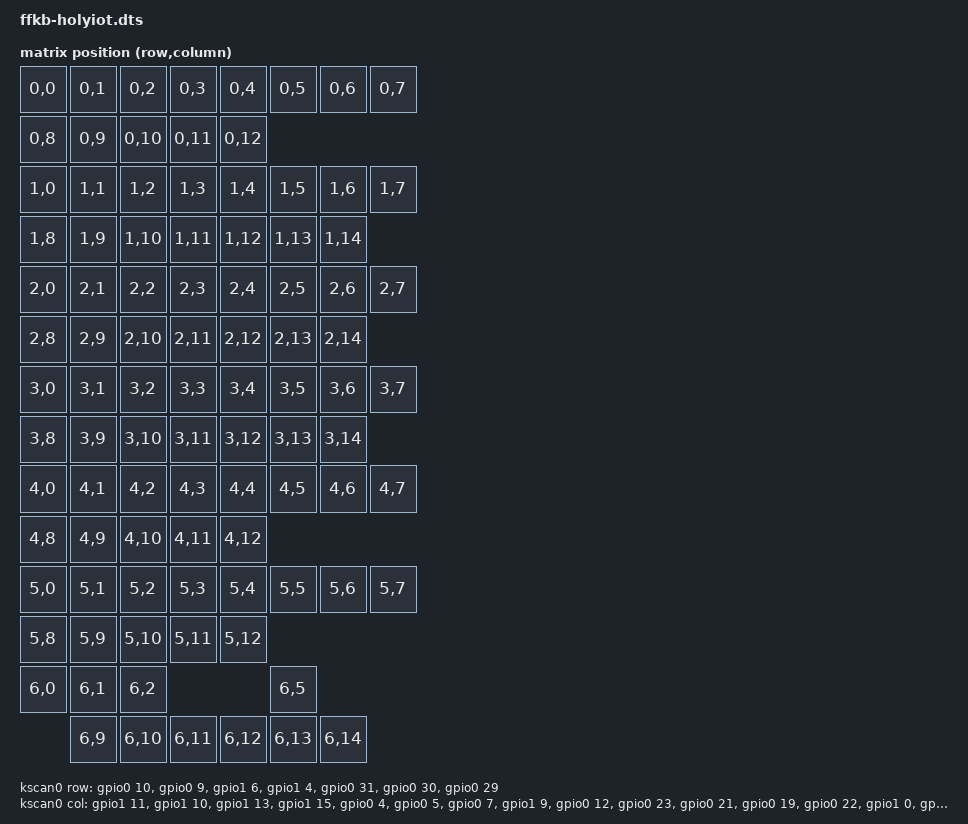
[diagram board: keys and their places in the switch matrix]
/*
 * Copyright (c) 2021 The ZMK Contributors
 *
 * SPDX-License-Identifier: MIT
 */

/dts-v1/;
#include <nordic/nrf52840_qiaa.dtsi>
#include <dt-bindings/zmk/matrix_transform.h>
// #include <dt-bindings/led/led.h>

/ {
    //model = "ffkb-holyiot";
    //compatible = "fingerpunch,ffkb-holyiot"

    chosen {
        zephyr,code-partition = &code_partition;
        zephyr,sram = &sram0;
        zephyr,flash = &flash0;
        zmk,kscan = &kscan0;
        zmk,matrix_transform = &default_transform;
    };

    // leds {
    //     compatible = "gpio-leds";
    //     blue_led: led_0 {
    //         gpios = <&gpio1 2 GPIO_ACTIVE_HIGH>;
    //         label = "Blue LED";
    //         status = "okay";  // 确保节点是激活的
    //     };
    // };

    vbatt {
        compatible = "zmk,battery-voltage-divider";
        label = "BATTERY";
        io-channels = <&adc 1>;
        output-ohms = <2000000>;
        full-ohms = <(2000000 + 750000)>;
    };

    // // Left encoder
    // encoder_1: encoder_1 {
    //     compatible = "alps,ec11";
    //     label = "Encoder 1";
    //     a-gpios = <&gpio0 7 (GPIO_ACTIVE_LOW | GPIO_PULL_UP)>;
    //     b-gpios = <&gpio1 9 (GPIO_ACTIVE_LOW | GPIO_PULL_UP)>;
    //     resolution = <4>;
    //     status = "okay";
    // };

    // // Right encoder
    // encoder_2: encoder_2 {
    //     compatible = "alps,ec11";
    //     label = "Encoder 2";
    //     a-gpios = <&gpio0 12 (GPIO_ACTIVE_LOW | GPIO_PULL_UP)>;
    //     b-gpios = <&gpio0 19 (GPIO_ACTIVE_LOW | GPIO_PULL_UP)>;
    //     resolution = <4>;
    //     status = "okay";
    // };

    // // Center encoder
    // encoder_3: encoder_3 {
    //     compatible = "alps,ec11";
    //     label = "Encoder 3";
    //     a-gpios = <&gpio0 21 (GPIO_ACTIVE_LOW | GPIO_PULL_UP)>;
    //     b-gpios = <&gpio0 23 (GPIO_ACTIVE_LOW | GPIO_PULL_UP)>;
    //     resolution = <4>;
    //     status = "okay";
    // };

    // sensors {
    //     compatible = "zmk,keymap-sensors";
    //     sensors = <&encoder_1 &encoder_2 &encoder_3>;
    // };

    kscan0: kscan_0 {
        compatible = "zmk,kscan-gpio-matrix";
        label = "KSCAN";
        diode-direction = "col2row";

        row-gpios
            = <&gpio0 10 (GPIO_ACTIVE_HIGH | GPIO_PULL_DOWN)>
            , <&gpio0 9 (GPIO_ACTIVE_HIGH | GPIO_PULL_DOWN)>
            , <&gpio1 6 (GPIO_ACTIVE_HIGH | GPIO_PULL_DOWN)>
            , <&gpio1 4 (GPIO_ACTIVE_HIGH | GPIO_PULL_DOWN)>
            , <&gpio0 31 (GPIO_ACTIVE_HIGH | GPIO_PULL_DOWN)>
            , <&gpio0 30 (GPIO_ACTIVE_HIGH | GPIO_PULL_DOWN)>
            , <&gpio0 29 (GPIO_ACTIVE_HIGH | GPIO_PULL_DOWN)>
            ;

        col-gpios
            = <&gpio1 11 GPIO_ACTIVE_HIGH>
            , <&gpio1 10 GPIO_ACTIVE_HIGH>
            , <&gpio1 13 GPIO_ACTIVE_HIGH>
            , <&gpio1 15 GPIO_ACTIVE_HIGH>
            , <&gpio0 4 GPIO_ACTIVE_HIGH>
            , <&gpio0 5 GPIO_ACTIVE_HIGH>
            , <&gpio0 7 GPIO_ACTIVE_HIGH>
            , <&gpio1 9 GPIO_ACTIVE_HIGH>
            , <&gpio0 12 GPIO_ACTIVE_HIGH>
            , <&gpio0 23 GPIO_ACTIVE_HIGH>
            , <&gpio0 21 GPIO_ACTIVE_HIGH>
            , <&gpio0 19 GPIO_ACTIVE_HIGH>
            , <&gpio0 22 GPIO_ACTIVE_HIGH>
            , <&gpio1 0 GPIO_ACTIVE_HIGH>
            , <&gpio1 3 GPIO_ACTIVE_HIGH>
            ;
    };

    default_transform: keymap_transform_0 {
        compatible = "zmk,matrix-transform";
        rows = <7>;
        columns = <15>;

        map = <
            RC(0,0) RC(0,1) RC(0,2)     RC(0,3)     RC(0,4)     RC(0,5)     RC(0,6)     RC(0,7) 
            RC(0,8) RC(0,9) RC(0,10)    RC(0,11)    RC(0,12)
            
            RC(1,0) RC(1,1) RC(1,2)     RC(1,3)     RC(1,4)     RC(1,5)     RC(1,6)     RC(1,7)
            RC(1,8) RC(1,9) RC(1,10)    RC(1,11)    RC(1,12)    RC(1,13)    RC(1,14)

            RC(2,0) RC(2,1) RC(2,2)     RC(2,3)     RC(2,4)     RC(2,5)     RC(2,6)     RC(2,7)
            RC(2,8) RC(2,9) RC(2,10)    RC(2,11)    RC(2,12)    RC(2,13)    RC(2,14)

            RC(3,0) RC(3,1) RC(3,2)     RC(3,3)     RC(3,4)     RC(3,5)     RC(3,6)     RC(3,7)
            RC(3,8) RC(3,9) RC(3,10)    RC(3,11)    RC(3,12)    RC(3,13)    RC(3,14)

            RC(4,0) RC(4,1) RC(4,2)     RC(4,3)     RC(4,4)     RC(4,5)     RC(4,6)     RC(4,7)
            RC(4,8) RC(4,9) RC(4,10)    RC(4,11)    RC(4,12) 

            RC(5,0) RC(5,1) RC(5,2)     RC(5,3)     RC(5,4)     RC(5,5)     RC(5,6)     RC(5,7)
            RC(5,8) RC(5,9) RC(5,10)    RC(5,11)    RC(5,12)

            RC(6,0) RC(6,1) RC(6,2)                             RC(6,5)
                    RC(6,9) RC(6,10)    RC(6,11)    RC(6,12)    RC(6,13)    RC(6,14)
        >;
    };
};

&adc {
    status = "okay";
};

&gpiote {
    status = "okay";
};

&gpio0 {
    status = "okay";
    // nfc-pins = <0x09>, <0x0A>; // Define NFC pins as GPIO (use correct pin numbers)
    /* Repurpose NFC pins as GPIO */
    p0_09: p0_09 {
        gpio-hog;                  // Declare as a gpio-hog
        output-high;                // Set the initial state as high
        gpios = <&gpio0 9 GPIO_ACTIVE_HIGH>;  // Define the pin with active state
        label = "P0_09_HOG";        // Optional label
    };

    p0_10: p0_10 {
        gpio-hog;
        output-low;
        gpios = <&gpio0 10 GPIO_ACTIVE_LOW>;
        label = "P0_10_HOG";
    };
};

&gpio1 {
    status = "okay";
};

&usbd {
    status = "okay";
};


&flash0 {
    /*
     * For more information, see:
     * http://docs.zephyrproject.org/latest/devices/dts/flash_partitions.html
     */
    partitions {
        compatible = "fixed-partitions";
        #address-cells = <1>;
        #size-cells = <1>;

        sd_partition: partition@0 {
            label = "mbr";
            reg = <0x00000000 0x00001000>;
        };
        code_partition: partition@1000 {
            label = "code_partition";
            reg = <0x00001000 0x000d3000>;
        };

        storage_partition: partition@d4000 {
            label = "storage";
            reg = <0x000d4000 0x00020000>;
        };

        boot_partition: partition@f4000 {
            label = "adafruit_boot";
            reg = <0x000f4000 0x0000c000>;
        };
    };
};

&spi0 {
    status = "disabled";
};

// &spi0 {
//     compatible = "nordic,nrf-spim";
//     status = "okay";
//     mosi-pin = <13>; // was 5 in zaphod, 6 in ffkb byo-mcu
//     // Unused pins, needed for SPI definition, but not used by the ws2812 driver itself.
//     sck-pin = <7>;
//     miso-pin = <8>;
//     cs-gpios = <&gpio0 5 GPIO_ACTIVE_HIGH>;

//    led_strip: ws2812@0 {
//         compatible = "worldsemi,ws2812-spi";
//         label = "SK6812minie";

//         /* SPI */
//         reg = <0>; /* ignored, but necessary for SPI bindings */
//         spi-max-frequency = <4000000>;

//         /* WS2812 */
//         chain-length = <42>;
//         spi-one-frame = <0x70>;
//         spi-zero-frame = <0x40>;
//         color-mapping = <LED_COLOR_ID_GREEN
//                          LED_COLOR_ID_RED
//                          LED_COLOR_ID_BLUE>;
//     };
// };

